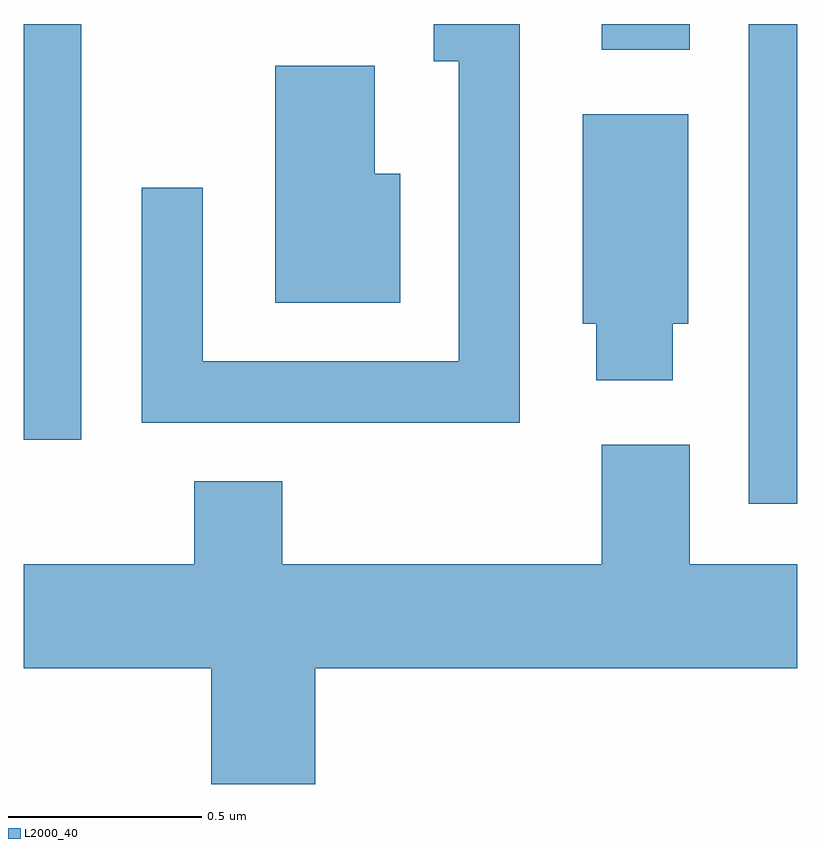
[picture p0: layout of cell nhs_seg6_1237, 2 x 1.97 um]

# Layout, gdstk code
import gdstk
lib = gdstk.Library(unit=1e-6, precision=1e-09)
def R(c, l, rs):  # rectangles x0, y0, x1, y1
    for r in rs: c.add(gdstk.rectangle(r[:2], r[2:], *l))
def P(c, l, *ps):  # polygons
    for p in ps: c.add(gdstk.Polygon(p, *l))
L2000_40 = (2000, 40)

nhs_seg6_1237 = lib.new_cell('nhs_seg6_1237')
R(nhs_seg6_1237, L2000_40, [(196.486,1534.921,196.611,1536.162), (194.611,1535.086,194.759,1536.162), (196.106,1536.096,196.334,1536.162)])
P(nhs_seg6_1237, L2000_40, [(195.894,1536.162),(195.671,1536.162),(195.671,1536.066),(195.736,1536.066),(195.736,1535.289),(195.074,1535.289),(195.074,1535.738),(194.916,1535.738),(194.916,1535.131),(195.894,1535.131)],
  [(195.584,1535.774),(195.519,1535.774),(195.519,1536.054),(195.261,1536.054),(195.261,1535.441),(195.584,1535.441)],
  [(196.289,1535.386),(196.329,1535.386),(196.329,1535.929),(196.056,1535.929),(196.056,1535.386),(196.091,1535.386),(196.091,1535.241),(196.289,1535.241)],
  [(195.364,1534.496),(196.611,1534.496),(196.611,1534.764),(196.334,1534.764),(196.334,1535.074),(196.106,1535.074),(196.106,1534.764),(195.279,1534.764),(195.279,1534.979),(195.051,1534.979),(195.051,1534.764),(194.611,1534.764),(194.611,1534.496),(195.096,1534.496),(195.096,1534.196),(195.364,1534.196)])

lib.write_gds('nhs_seg6_1237.gds')
